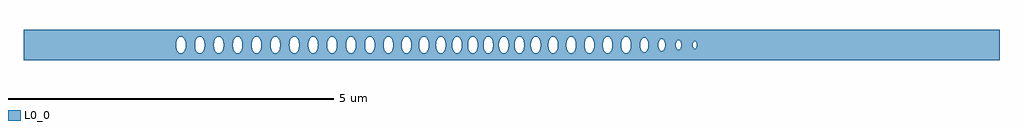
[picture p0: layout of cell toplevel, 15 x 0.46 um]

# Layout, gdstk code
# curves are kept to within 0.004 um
import gdstk
lib = gdstk.Library(unit=1e-6, precision=1e-09)
def P(c, l, *ps):  # polygons
    for p in ps: c.add(gdstk.Polygon(p, *l))
L0_0 = (0, 0)

toplevel = lib.new_cell('toplevel')
P(toplevel, L0_0, [(-7.5,0.231),(-7.5,-0.008),(-5.155,-0.008),(-5.15,0.048),(-5.135,0.089),(-5.112,0.118),(-5.085,0.13),(-5.053,0.121),(-5.03,0.095),(-5.01,0.04),(-5.007,-0.016),(-4.864,-0.016),(-4.861,0.04),(-4.85,0.077),(-4.822,0.118),(-4.795,0.13),(-4.767,0.124),(-4.743,0.101),(-4.725,0.063),(-4.716,0.008),(-4.721,-0.048),(-4.736,-0.089),(-4.759,-0.118),(-4.786,-0.13),(-4.813,-0.124),(-4.838,-0.101),(-4.853,-0.07),(-4.864,-0.016),(-5.007,-0.016),(-5.018,-0.07),(-5.037,-0.106),(-5.058,-0.124),(-5.085,-0.13),(-5.112,-0.118),(-5.135,-0.089),(-5.15,-0.048),(-5.155,-0.008),(-7.5,-0.008),(-7.5,-0.231),(-4.44,-0.231),(-4.44,-0.077),(-4.456,-0.106),(-4.477,-0.124),(-4.495,-0.13),(-4.523,-0.124),(-4.54,-0.11),(-4.56,-0.077),(-4.574,-0.008),(-4.572,0.032),(-4.56,0.077),(-4.54,0.11),(-4.523,0.124),(-4.504,0.13),(-4.477,0.124),(-4.456,0.106),(-4.44,0.077),(-4.44,0.231)],
  [(-3.702,0.016),(-3.686,0.083),(-3.66,0.118),(-3.633,0.13),(-3.597,0.118),(-3.597,0.231),(-4.44,0.231),(-4.44,0.076),(-4.429,0.04),(-4.426,-0.016),(-4.283,-0.016),(-4.28,0.04),(-4.269,0.077),(-4.241,0.118),(-4.214,0.13),(-4.186,0.124),(-4.155,0.089),(-4.14,0.048),(-4.135,-0.008),(-3.993,-0.008),(-3.991,0.032),(-3.979,0.077),(-3.955,0.114),(-3.924,0.13),(-3.9,0.126),(-3.875,0.106),(-3.856,0.07),(-3.845,0.016),(-3.848,-0.04),(-3.859,-0.077),(-3.887,-0.118),(-3.914,-0.13),(-3.942,-0.124),(-3.97,-0.095),(-3.986,-0.056),(-3.993,-0.008),(-4.135,-0.008),(-4.14,-0.048),(-4.155,-0.089),(-4.178,-0.118),(-4.205,-0.13),(-4.232,-0.124),(-4.257,-0.101),(-4.272,-0.07),(-4.283,-0.016),(-4.426,-0.016),(-4.44,-0.077),(-4.44,-0.231),(-3.597,-0.231),(-3.597,-0.118),(-3.615,-0.128),(-3.638,-0.129),(-3.656,-0.121),(-3.676,-0.101),(-3.699,-0.04)],
  [(-2.78,0.124),(-2.762,0.13),(-2.743,0.128),(-2.713,0.106),(-2.69,0.056),(-2.683,-0.008),(-2.541,-0.008),(-2.534,0.056),(-2.521,0.089),(-2.494,0.121),(-2.462,0.13),(-2.435,0.118),(-2.409,0.083),(-2.396,0.04),(-2.393,-0.016),(-2.251,-0.016),(-2.248,0.04),(-2.228,0.095),(-2.205,0.121),(-2.173,0.13),(-2.146,0.118),(-2.123,0.089),(-2.108,0.048),(-2.103,-0.008),(-2.108,-0.048),(-2.123,-0.089),(-2.146,-0.118),(-2.173,-0.13),(-2.196,-0.126),(-2.221,-0.106),(-2.24,-0.07),(-2.251,-0.016),(-2.393,-0.016),(-2.404,-0.07),(-2.419,-0.101),(-2.444,-0.124),(-2.471,-0.13),(-2.498,-0.118),(-2.521,-0.089),(-2.534,-0.056),(-2.541,-0.008),(-2.683,-0.008),(-2.694,-0.07),(-2.713,-0.106),(-2.734,-0.124),(-2.752,-0.13),(-2.789,-0.118),(-2.789,-0.231),(-1.966,-0.231),(-1.966,0.231),(-2.789,0.231),(-2.789,0.118)],
  [(-1.419,0.016),(-1.403,0.083),(-1.377,0.118),(-1.35,0.13),(-1.314,0.118),(-1.314,0.231),(-1.966,0.231),(-1.966,0.016),(-1.955,0.07),(-1.936,0.106),(-1.911,0.126),(-1.887,0.13),(-1.856,0.114),(-1.832,0.077),(-1.82,0.032),(-1.819,-0.016),(-1.688,-0.016),(-1.685,0.04),(-1.665,0.095),(-1.637,0.124),(-1.61,0.13),(-1.591,0.124),(-1.563,0.095),(-1.547,0.056),(-1.54,0.008),(-1.545,-0.048),(-1.563,-0.095),(-1.591,-0.124),(-1.61,-0.13),(-1.633,-0.126),(-1.658,-0.106),(-1.677,-0.07),(-1.688,-0.016),(-1.819,-0.016),(-1.827,-0.063),(-1.845,-0.101),(-1.878,-0.128),(-1.906,-0.128),(-1.924,-0.118),(-1.943,-0.095),(-1.955,-0.07),(-1.966,-0.016),(-1.966,-0.231),(-1.314,-0.231),(-1.314,-0.118),(-1.332,-0.128),(-1.355,-0.129),(-1.373,-0.121),(-1.393,-0.101),(-1.413,-0.056)],
  [(-1.272,-0.016),(-1.288,-0.083),(-1.314,-0.118),(-1.314,-0.231),(-0.638,-0.231),(-0.638,-0.106),(-0.657,-0.07),(-0.668,-0.016),(-0.665,0.04),(-0.638,0.106),(-0.638,0.231),(-1.314,0.231),(-1.314,0.118),(-1.298,0.101),(-1.283,0.07),(-1.271,0),(-1.161,0),(-1.154,0.056),(-1.134,0.101),(-1.109,0.124),(-1.082,0.13),(-1.055,0.118),(-1.029,0.083),(-1.016,0.04),(-1.013,-0.008),(-0.911,-0.008),(-0.906,0.048),(-0.884,0.101),(-0.851,0.128),(-0.832,0.13),(-0.809,0.121),(-0.789,0.101),(-0.774,0.07),(-0.766,0.04),(-0.763,-0.016),(-0.774,-0.07),(-0.789,-0.101),(-0.823,-0.128),(-0.851,-0.128),(-0.884,-0.101),(-0.902,-0.063),(-0.911,-0.008),(-1.013,-0.008),(-1.019,-0.056),(-1.039,-0.101),(-1.059,-0.121),(-1.082,-0.13),(-1.109,-0.124),(-1.134,-0.101),(-1.154,-0.056),(-1.161,0),(-1.271,0)],
  [(-0.621,0.121),(-0.59,0.13),(-0.554,0.11),(-0.529,0.063),(-0.52,-0.008),(-0.43,-0.008),(-0.425,0.048),(-0.407,0.095),(-0.379,0.124),(-0.36,0.13),(-0.333,0.124),(-0.305,0.095),(-0.285,0.04),(-0.282,-0.008),(-0.193,-0.008),(-0.188,0.048),(-0.166,0.101),(-0.142,0.124),(-0.109,0.129),(-0.075,0.106),(-0.059,0.077),(-0.048,0.04),(-0.045,-0.016),(-0.056,-0.07),(-0.071,-0.101),(-0.096,-0.124),(-0.123,-0.13),(-0.15,-0.118),(-0.173,-0.089),(-0.188,-0.048),(-0.193,-0.008),(-0.282,-0.008),(-0.293,-0.07),(-0.312,-0.106),(-0.333,-0.124),(-0.36,-0.13),(-0.379,-0.124),(-0.407,-0.095),(-0.423,-0.056),(-0.43,-0.008),(-0.52,-0.008),(-0.534,-0.077),(-0.558,-0.114),(-0.58,-0.128),(-0.599,-0.13),(-0.617,-0.124),(-0.638,-0.106),(-0.638,-0.231),(0.052,-0.231),(0.052,0.231),(-0.638,0.231),(-0.638,0.106)],
  [(0.566,0.016),(0.582,0.083),(0.596,0.106),(0.617,0.124),(0.635,0.13),(0.662,0.124),(0.683,0.106),(0.697,0.083),(0.697,0.231),(0.052,0.231),(0.052,0.04),(0.059,0.07),(0.078,0.106),(0.099,0.124),(0.127,0.13),(0.154,0.118),(0.173,0.095),(0.191,0.048),(0.196,-0.008),(0.299,-0.008),(0.304,0.048),(0.319,0.089),(0.35,0.124),(0.378,0.13),(0.401,0.121),(0.421,0.101),(0.436,0.07),(0.447,0.016),(0.444,-0.04),(0.433,-0.077),(0.405,-0.118),(0.378,-0.13),(0.35,-0.124),(0.326,-0.101),(0.308,-0.063),(0.299,-0.008),(0.196,-0.008),(0.189,-0.056),(0.173,-0.095),(0.154,-0.118),(0.127,-0.13),(0.099,-0.124),(0.078,-0.106),(0.059,-0.07),(0.052,-0.042),(0.052,-0.231),(0.697,-0.231),(0.697,-0.083),(0.683,-0.106),(0.653,-0.128),(0.63,-0.129),(0.608,-0.118),(0.585,-0.089),(0.572,-0.056)],
  [(1.549,-0.032),(1.54,-0.07),(1.521,-0.106),(1.5,-0.124),(1.472,-0.13),(1.472,-0.231),(2.257,-0.231),(2.257,0.231),(1.472,0.231),(1.472,0.13),(1.5,0.124),(1.528,0.095),(1.546,0.048),(1.551,-0.008),(1.686,-0.008),(1.691,0.048),(1.709,0.095),(1.737,0.124),(1.756,0.13),(1.783,0.124),(1.811,0.095),(1.831,0.04),(1.834,-0.007),(1.977,-0.007),(1.98,0.035),(1.994,0.077),(2.017,0.104),(2.037,0.112),(2.057,0.109),(2.072,0.098),(2.097,0.054),(2.105,0),(2.097,-0.054),(2.075,-0.095),(2.045,-0.112),(2.021,-0.107),(1.997,-0.082),(1.983,-0.048),(1.977,-0.007),(1.834,-0.007),(1.827,-0.056),(1.811,-0.095),(1.792,-0.118),(1.765,-0.13),(1.737,-0.124),(1.709,-0.095),(1.693,-0.056),(1.686,-0.008),(1.551,-0.008)],
  [(2.258,0.023),(2.281,0.079),(2.297,0.091),(2.313,0.094),(2.332,0.085),(2.349,0.064),(2.358,0.04),(2.363,-0.005),(2.524,-0.005),(2.536,0.052),(2.554,0.072),(2.572,0.075),(2.59,0.064),(2.602,0.044),(2.61,-0.004),(2.784,-0.004),(2.796,0.044),(2.821,0.057),(2.843,0.034),(2.849,-0.011),(2.836,-0.046),(2.813,-0.057),(2.793,-0.039),(2.784,-0.004),(2.61,-0.004),(2.605,-0.036),(2.59,-0.064),(2.562,-0.075),(2.536,-0.052),(2.524,-0.005),(2.363,-0.005),(2.349,-0.064),(2.332,-0.085),(2.313,-0.094),(2.293,-0.089),(2.273,-0.068),(2.257,-0.012),(2.257,-0.231),(7.5,-0.231),(7.5,0.231),(2.257,0.231)],
  [(-3.122,0),(-3.121,0.231),(-3.597,0.231),(-3.597,0.118),(-3.568,0.077),(-3.554,-0.008),(-3.412,-0.008),(-3.41,0.032),(-3.398,0.077),(-3.37,0.118),(-3.343,0.13),(-3.315,0.124),(-3.294,0.106),(-3.275,0.07),(-3.264,0.016),(-3.267,-0.04),(-3.278,-0.077),(-3.306,-0.118),(-3.333,-0.13),(-3.361,-0.124),(-3.382,-0.106),(-3.401,-0.07),(-3.412,-0.008),(-3.554,-0.008),(-3.568,-0.077),(-3.597,-0.118),(-3.597,-0.231),(-3.121,-0.231)],
  [(-3.116,0.048),(-3.102,0.089),(-3.079,0.118),(-3.057,0.129),(-3.034,0.128),(-3.004,0.106),(-2.99,0.083),(-2.98,0.056),(-2.973,0),(-2.98,-0.056),(-2.993,-0.089),(-3.016,-0.118),(-3.043,-0.13),(-3.07,-0.124),(-3.095,-0.101),(-3.115,-0.056),(-3.121,-0.016),(-3.121,-0.231),(-2.789,-0.231),(-2.789,-0.118),(-2.82,-0.07),(-2.831,-0.016),(-2.828,0.04),(-2.82,0.07),(-2.789,0.118),(-2.789,0.231),(-3.121,0.231),(-3.121,0.016)],
  [(0.71,-0.04),(0.697,-0.083),(0.697,-0.231),(1.13,-0.231),(1.13,-0.056),(1.123,-0.016),(1.13,0.056),(1.13,0.231),(0.697,0.231),(0.697,0.082),(0.71,0.04),(0.713,-0.008),(0.842,-0.008),(0.849,0.056),(0.862,0.089),(0.885,0.118),(0.912,0.13),(0.939,0.124),(0.964,0.101),(0.983,0.056),(0.991,0),(0.987,-0.04),(0.974,-0.083),(0.948,-0.118),(0.921,-0.13),(0.894,-0.124),(0.869,-0.101),(0.851,-0.063),(0.842,-0.008),(0.713,-0.008)],
  [(1.137,0.077),(1.149,0.101),(1.174,0.124),(1.192,0.13),(1.22,0.124),(1.244,0.101),(1.257,0.077),(1.27,0.024),(1.271,-0.008),(1.257,-0.077),(1.24,-0.106),(1.211,-0.128),(1.187,-0.129),(1.165,-0.118),(1.149,-0.101),(1.13,-0.056),(1.13,-0.231),(1.472,-0.231),(1.472,-0.13),(1.445,-0.118),(1.426,-0.095),(1.41,-0.056),(1.403,-0.008),(1.405,0.032),(1.417,0.077),(1.445,0.118),(1.472,0.13),(1.472,0.231),(1.13,0.231),(1.13,0.056)])

lib.write_gds('toplevel.gds')
